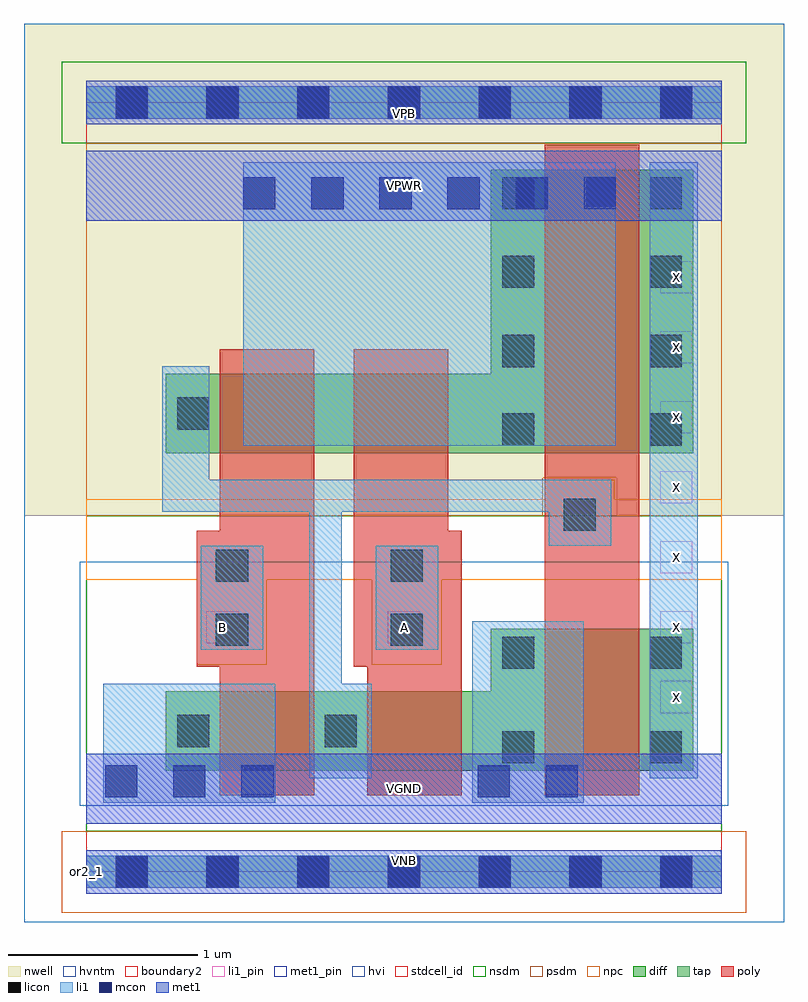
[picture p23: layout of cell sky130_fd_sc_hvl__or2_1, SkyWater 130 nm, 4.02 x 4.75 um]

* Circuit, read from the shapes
.subckt sky130_fd_sc_hvl__or2_1 A B VGND VNB VPB VPWR X
XM1 n1 B VGND VNB sky130_fd_pr__nfet_g5v0d10v5 w=0.42 l=0.5
XM2 VGND A n1 VNB sky130_fd_pr__nfet_g5v0d10v5 w=0.42 l=0.5
XM3 X n1 VGND VNB sky130_fd_pr__nfet_g5v0d10v5 w=0.75 l=0.5
XM4 n2 B n1 VPB sky130_fd_pr__pfet_g5v0d10v5 w=0.42 l=0.5
XM5 VPWR A n2 VPB sky130_fd_pr__pfet_g5v0d10v5 w=0.42 l=0.5
XM6 X n1 VPWR VPB sky130_fd_pr__pfet_g5v0d10v5 w=1.5 l=0.5
.ends

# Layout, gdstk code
import gdstk
lib = gdstk.Library(unit=1e-6, precision=1e-09)
def R(c, l, rs):  # rectangles x0, y0, x1, y1
    for r in rs: c.add(gdstk.rectangle(r[:2], r[2:], *l))
def A(c, l, x, y, w, h, nx, ny, dx, dy):  # array of equal rectangles
    R(c, l, [(x+i*dx, y+j*dy, x+i*dx+w, y+j*dy+h) for i in range(nx) for j in range(ny)])
def P(c, l, *ps):  # polygons
    for p in ps: c.add(gdstk.Polygon(p, *l))
nwell = (64, 20)
diff = (65, 20)
tap = (65, 44)
poly = (66, 20)
licon = (66, 44)
li1_pin = (67, 16)
li1 = (67, 20)
mcon = (67, 44)
met1_pin = (68, 16)
met1 = (68, 20)
hvi = (75, 20)
stdcell_id = (81, 4)
nsdm = (93, 44)
psdm = (94, 20)
npc = (95, 20)
hvntm = (125, 20)
boundary2 = (236, 0)

sky130_fd_sc_hvl__or2_1 = lib.new_cell('sky130_fd_sc_hvl__or2_1')
R(sky130_fd_sc_hvl__or2_1, nwell, [(-0.33,1.885,3.69,4.485)])
P(sky130_fd_sc_hvl__or2_1, diff, [(3.21,3.715),(2.14,3.715),(2.14,2.635),(0.42,2.635),(0.42,2.215),(3.21,2.215)],
  [(3.21,1.285),(2.14,1.285),(2.14,0.955),(0.42,0.955),(0.42,0.535),(3.21,0.535)])
R(sky130_fd_sc_hvl__or2_1, tap, [(0,-0.085,3.36,0.085), (0,3.985,3.36,4.155)])
R(sky130_fd_sc_hvl__or2_1, poly, [(2.425,0.405,2.925,3.845)])
P(sky130_fd_sc_hvl__or2_1, poly, [(1.205,2.765),(0.705,2.765),(0.705,1.805),(0.585,1.805),(0.585,1.085),(0.705,1.085),(0.705,0.405),(1.205,0.405)],
  [(1.985,1.805),(1.915,1.805),(1.915,2.765),(1.415,2.765),(1.415,1.085),(1.485,1.085),(1.485,0.405),(1.985,0.405)])
A(sky130_fd_sc_hvl__or2_1, licon, 0.155, -0.085, 0.17, 0.17, 7, 2, 0.48, 4.07)
R(sky130_fd_sc_hvl__or2_1, licon, [(2.2,0.575,2.37,0.745), (2.98,0.575,3.15,0.745), (0.48,0.66,0.65,0.83), (1.26,0.66,1.43,0.83), (2.2,1.075,2.37,1.245), (2.98,1.075,3.15,1.245), (0.685,1.195,0.855,1.365), (1.61,1.195,1.78,1.365), (0.685,1.535,0.855,1.705), (1.61,1.535,1.78,1.705), (2.525,1.805,2.695,1.975), (2.2,2.255,2.37,2.425), (2.98,2.255,3.15,2.425), (0.48,2.34,0.65,2.51), (2.2,2.67,2.37,2.84), (2.98,2.67,3.15,2.84), (2.2,3.09,2.37,3.26), (2.98,3.09,3.15,3.26), (2.2,3.505,2.37,3.675), (2.98,3.505,3.15,3.675)])
A(sky130_fd_sc_hvl__or2_1, li1_pin, 3.035, 0.84, 0.17, 0.17, 1, 7, 0, 0.37)
R(sky130_fd_sc_hvl__or2_1, li1_pin, [(0.635,1.21,0.805,1.38), (1.595,1.21,1.765,1.38)])
R(sky130_fd_sc_hvl__or2_1, li1, [(0,-0.085,3.36,0.085), (0.09,0.365,1,0.995), (2.04,0.365,2.63,1.325), (2.98,0.495,3.235,3.755), (0.605,1.175,0.935,1.725), (1.53,1.175,1.86,1.725), (0.83,2.255,2.8,3.755), (0,3.985,3.36,4.155)])
P(sky130_fd_sc_hvl__or2_1, li1, [(2.775,2.075),(0.65,2.075),(0.65,2.675),(0.4,2.675),(0.4,1.905),(1.18,1.905),(1.18,0.495),(1.51,0.495),(1.51,0.995),(1.35,0.995),(1.35,1.905),(2.445,1.905),(2.445,1.725),(2.775,1.725)])
A(sky130_fd_sc_hvl__or2_1, mcon, 0.1, 0.395, 0.17, 0.17, 3, 1, 0.36, 0)
A(sky130_fd_sc_hvl__or2_1, mcon, 0.83, 3.505, 0.17, 0.17, 6, 1, 0.36, 0)
R(sky130_fd_sc_hvl__or2_1, mcon, [(0.155,-0.085,0.325,0.085), (0.155,-0.085,0.325,0.085), (0.635,-0.085,0.805,0.085), (0.635,-0.085,0.805,0.085), (1.115,-0.085,1.285,0.085), (1.115,-0.085,1.285,0.085), (1.595,-0.085,1.765,0.085), (1.595,-0.085,1.765,0.085), (2.075,-0.085,2.245,0.085), (2.075,-0.085,2.245,0.085), (2.555,-0.085,2.725,0.085), (2.555,-0.085,2.725,0.085), (3.035,-0.085,3.205,0.085), (3.035,-0.085,3.205,0.085), (2.07,0.395,2.24,0.565), (2.43,0.395,2.6,0.565), (0.155,3.985,0.325,4.155), (0.155,3.985,0.325,4.155), (0.635,3.985,0.805,4.155), (0.635,3.985,0.805,4.155), (1.115,3.985,1.285,4.155), (1.115,3.985,1.285,4.155), (1.595,3.985,1.765,4.155), (1.595,3.985,1.765,4.155), (2.075,3.985,2.245,4.155), (2.075,3.985,2.245,4.155), (2.555,3.985,2.725,4.155), (2.555,3.985,2.725,4.155), (3.035,3.985,3.205,4.155), (3.035,3.985,3.205,4.155)])
R(sky130_fd_sc_hvl__or2_1, met1_pin, [(0,0,3.36,0.115), (0,0.255,3.36,0.625), (0,3.445,3.36,3.815), (0,3.955,3.36,4.07)])
R(sky130_fd_sc_hvl__or2_1, met1, [(0,-0.115,3.36,0.115), (0,0.255,3.36,0.625), (0,3.445,3.36,3.815), (0,3.955,3.36,4.185)])
R(sky130_fd_sc_hvl__or2_1, hvi, [(-0.33,-0.265,3.69,4.485)])
R(sky130_fd_sc_hvl__or2_1, stdcell_id, [(0,0,3.36,4.07)])
R(sky130_fd_sc_hvl__or2_1, nsdm, [(0,0.215,3.36,1.885), (-0.13,3.855,3.49,4.285), (0,3.855,3.36,4.07)])
R(sky130_fd_sc_hvl__or2_1, psdm, [(-0.13,-0.215,3.49,0.215)])
P(sky130_fd_sc_hvl__or2_1, psdm, [(3.36,3.855),(0,3.855),(0,1.885),(2.415,1.885),(2.415,2.085),(2.805,2.085),(2.805,1.885),(3.36,1.885)])
P(sky130_fd_sc_hvl__or2_1, npc, [(3.36,1.97),(2.795,1.97),(2.795,2.075),(2.425,2.075),(2.425,1.97),(0,1.97),(0,1.545),(0.585,1.545),(0.585,1.095),(0.955,1.095),(0.955,1.545),(1.51,1.545),(1.51,1.095),(1.88,1.095),(1.88,1.545),(3.36,1.545)])
R(sky130_fd_sc_hvl__or2_1, hvntm, [(-0.035,0.35,3.395,1.64)])
R(sky130_fd_sc_hvl__or2_1, boundary2, [(0,0,3.36,4.07)])
sky130_fd_sc_hvl__or2_1.add(gdstk.Label('or2_1', (0,0), layer=83, texttype=44))
sky130_fd_sc_hvl__or2_1.add(gdstk.Label('VGND', (1.68,0.44), layer=68, texttype=5))
sky130_fd_sc_hvl__or2_1.add(gdstk.Label('VNB', (1.68,0.058), layer=68, texttype=5))
sky130_fd_sc_hvl__or2_1.add(gdstk.Label('VPWR', (1.68,3.63), layer=68, texttype=5))
sky130_fd_sc_hvl__or2_1.add(gdstk.Label('VPB', (1.68,4.013), layer=68, texttype=5))
sky130_fd_sc_hvl__or2_1.add(gdstk.Label('A', (1.68,1.295), layer=67, texttype=5))
sky130_fd_sc_hvl__or2_1.add(gdstk.Label('X', (3.12,0.925), layer=67, texttype=5))
sky130_fd_sc_hvl__or2_1.add(gdstk.Label('X', (3.12,1.295), layer=67, texttype=5))
sky130_fd_sc_hvl__or2_1.add(gdstk.Label('X', (3.12,1.665), layer=67, texttype=5))
sky130_fd_sc_hvl__or2_1.add(gdstk.Label('X', (3.12,2.035), layer=67, texttype=5))
sky130_fd_sc_hvl__or2_1.add(gdstk.Label('X', (3.12,2.405), layer=67, texttype=5))
sky130_fd_sc_hvl__or2_1.add(gdstk.Label('X', (3.12,2.775), layer=67, texttype=5))
sky130_fd_sc_hvl__or2_1.add(gdstk.Label('X', (3.12,3.145), layer=67, texttype=5))
sky130_fd_sc_hvl__or2_1.add(gdstk.Label('B', (0.72,1.295), layer=67, texttype=5))

lib.write_gds('sky130_fd_sc_hvl__or2_1.gds')
